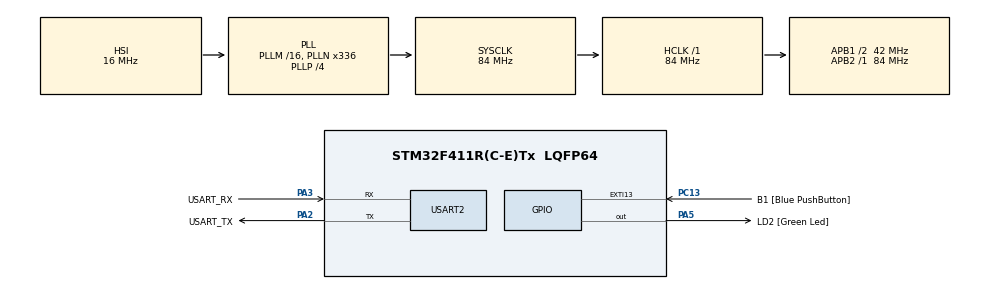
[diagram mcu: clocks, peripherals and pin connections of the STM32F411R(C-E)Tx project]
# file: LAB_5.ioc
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Mcu.Family=STM32F4
Mcu.Name=STM32F411R(C-E)Tx
Mcu.Package=LQFP64
NVIC.PriorityGroup=NVIC_PRIORITYGROUP_0
NVIC.USART2_IRQn=true\:0\:0\:false\:false\:true\:true\:true\:true
PA13.GPIO_Label=TMS
PA13.Mode=Serial_Wire
PA13.Signal=SYS_JTMS-SWDIO
PA14.GPIO_Label=TCK
PA14.Mode=Serial_Wire
PA14.Signal=SYS_JTCK-SWCLK
PA2.GPIO_Label=USART_TX
PA2.Mode=Asynchronous
PA2.Signal=USART2_TX
PA3.GPIO_Label=USART_RX
PA3.Mode=Asynchronous
PA3.Signal=USART2_RX
PA5.GPIO_Label=LD2 [Green Led]
PA5.Signal=GPIO_Output
PB3.GPIO_Label=SWO
PB3.Signal=SYS_JTDO-SWO
PC13-ANTI_TAMP.GPIO_Label=B1 [Blue PushButton]
PC13-ANTI_TAMP.GPIO_ModeDefaultEXTI=GPIO_MODE_IT_FALLING
PC13-ANTI_TAMP.Signal=GPXTI13
PC14-OSC32_IN.Mode=LSE-External-Oscillator
PC14-OSC32_IN.Signal=RCC_OSC32_IN
PC15-OSC32_OUT.Mode=LSE-External-Oscillator
PC15-OSC32_OUT.Signal=RCC_OSC32_OUT
PH0\ -\ OSC_IN.Mode=HSE-External-Clock-Source
PH0\ -\ OSC_IN.Signal=RCC_OSC_IN
PH1\ -\ OSC_OUT.Mode=HSE-External-Clock-Source
PH1\ -\ OSC_OUT.Signal=RCC_OSC_OUT
ProjectManager.HeapSize=0x200
ProjectManager.StackSize=0x400
ProjectManager.TargetToolchain=STM32CubeIDE
RCC.48MHZClocksFreq_Value=84000000
RCC.AHBFreq_Value=84000000
RCC.APB1CLKDivider=RCC_HCLK_DIV2
RCC.APB1Freq_Value=42000000
RCC.APB1TimFreq_Value=84000000
RCC.APB2Freq_Value=84000000
RCC.APB2TimFreq_Value=84000000
RCC.CortexFreq_Value=84000000
RCC.FLatency-AdvancedSettings=FLASH_LATENCY_2
RCC.HCLKFreq_Value=84000000
RCC.HSE_VALUE=8000000
RCC.HSI_VALUE=16000000
RCC.PLLN=336
RCC.PLLP=RCC_PLLP_DIV4
RCC.SYSCLKFreq_VALUE=84000000
RCC.SYSCLKSource=RCC_SYSCLKSOURCE_PLLCLK
RCC.VCOOutputFreq_Value=336000000
USART2.VirtualMode=VM_ASYNC
board=NUCLEO-F411RE

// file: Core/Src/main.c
/* USER CODE BEGIN Header */
/**
  ******************************************************************************
  * @file           : main.c
  * @brief          : Main program body
  ******************************************************************************
  * @attention
  *
  * Copyright (c) 2023 STMicroelectronics.
  * All rights reserved.
  *
  * This software is licensed under terms that can be found in the LICENSE file
  * in the root directory of this software component.
  * If no LICENSE file comes with this software, it is provided AS-IS.
  *
  ******************************************************************************
  */
/* USER CODE END Header */
#include "main.h"

/* USER CODE BEGIN Includes */

#include "stdio.h"
#include "string.h"

/* USER CODE END Includes */

UART_HandleTypeDef huart2;

/* USER CODE BEGIN PV */

uint8_t RxBuffer[1];
uint8_t TxBuffer[20];

uint8_t FirstMenu[1000] =

			"                Please select the function            \r\n"
			"						     						   \r\n"
			"                  0 : LED Control                     \r\n"
			"                  1 : Button Status                   \r\n"
			"                                                      \r\n"
			"                                                      \r\n";

uint8_t SecMenu[1000] =

	    	"                                                      \r\n"
			"                  Press the Character                 \r\n"
			"													   \r\n"
			"                a : Speed Up   +1 Hz                  \r\n"
			"                s : Speed Down -1 Hz                  \r\n"
			"                d : On / Off LED                      \r\n"
			"                x : back                              \r\n"
			"                                                      \r\n"
			"                                                      \r\n";

uint8_t ThirdMenu[1000] =

			"                                                      \r\n"
	    	"                                                      \r\n"
			"       		    button status                      \r\n"
			"             Press 'x' to go to back menu             \r\n"
			"                                                      \r\n"
			"                                                      \r\n";

uint8_t Wrong[1000] =

		    "                                                      \r\n"
			"              Error no function detected              \r\n"
		    "                                                      \r\n"
    		"                                                      \r\n";

//set
int8_t Hz = 0;
int8_t Past_Hz = 0;
uint8_t mHz = 0;
uint8_t HzIncrease [30] = "Hz Increase (+1)\r\n";
uint8_t HzDecrease [30] = "Hz Decrease (-1)\r\n";
uint8_t Cant [30] = "0 Hz Already\r\n";
uint8_t State = 0;
uint8_t Status_LED = 0;
uint8_t LED_On [10] = "Led On\r\n";
uint8_t LED_Off [15] = "Led Off\r\n";

uint8_t Button = 0;
uint8_t PastButton = 0;

uint8_t Press[50] = "Status : ButtonPressed\r\n";
uint8_t UnPress[50] = "Status : ButtonUnpressed\r\n";
uint8_t OnePress = 0;

/* USER CODE END PV */

void SystemClock_Config(void);
static void MX_GPIO_Init(void);
static void MX_USART2_UART_Init(void);
/* USER CODE BEGIN PFP */

void UARTInterruptConfig();

/* USER CODE END PFP */

int main(void)
{

  /* MCU Configuration--------------------------------------------------------*/

  /* Reset of all peripherals, Initializes the Flash interface and the Systick. */
  HAL_Init();

  /* Configure the system clock */
  SystemClock_Config();

  /* Initialize all configured peripherals */
  MX_GPIO_Init();
  MX_USART2_UART_Init();
  /* USER CODE BEGIN 2 */

  UARTInterruptConfig();

  /* USER CODE END 2 */

  /* Infinite loop */
  while (1)
  {

    /* USER CODE BEGIN 3 */

	  // create State
	  switch (State){

	  case 0: // First Menu
		  HAL_Delay(50); // delay = 1 ms.
		  HAL_UART_Transmit_IT(&huart2, FirstMenu, strlen((char*) FirstMenu));
		  HAL_Delay(50);
		  State = 1;
		  HAL_Delay(50);
		  break;

	  case 1: // Press 1 or 0
	  	  if (RxBuffer[0] == '0') // Press and go to LED Control
	  	  {
	  		  HAL_Delay(50);
	  		  RxBuffer[0] = 0;
	  		  HAL_Delay(50);
	  		  State = 2;
	  		  HAL_Delay(50);
	  	  }

	  	  else if (RxBuffer[0] == '1')  // Press and go to Button Status
	  	  {
	  		  HAL_Delay(50);
	  		  RxBuffer[0] = 0;
	  		  HAL_Delay(50);

	  		  State = 4;
	  		  HAL_Delay(50);
	  	  }
	  	  else if (RxBuffer[0] == 0)
	  	  {
	  		  State = 1;
	  	  }
		  else
		  {
			  RxBuffer[0] = 0;
			  HAL_Delay(50);
			  HAL_UART_Transmit_IT(&huart2, Wrong, strlen((char*) Wrong));
			  HAL_Delay(50);
			  State = 0;
		  }

	  	  break;
	  	  //else

	  case 2: // Second Menu
		  HAL_Delay(50);
		  HAL_UART_Transmit_IT(&huart2, SecMenu, strlen((char*) SecMenu));
		  HAL_Delay(50);
		  State = 3;
		  break;

	  case 3: // Press a, s, d, x
		  HAL_Delay(50);
		  if (RxBuffer[0] == 'a')
		  {
			  HAL_Delay(50);
			  Hz += 1 ;
			  Past_Hz += 1;
			  HAL_Delay(50);
			  State = 3;
			  RxBuffer[0] = 0;
			  HAL_Delay(50);
			  HAL_UART_Transmit_IT(&huart2, HzIncrease, strlen((char*) HzIncrease));
			  HAL_Delay(50);
		  }

		  else if (RxBuffer[0] == 's')
		  {
			  HAL_Delay(50);
			  HAL_UART_Transmit_IT(&huart2, HzDecrease, strlen((char*) HzDecrease));
			  HAL_Delay(50);

			  Hz -= 1;
			  HAL_Delay(50);
			  if (Hz <= 0)
			  {
				  Hz = 0;
			  }
			  HAL_Delay(50);
			  Past_Hz -= 1;
			  HAL_Delay(50);
			  if (Past_Hz <= 0)
			  {
				  Past_Hz = 0;
				  HAL_UART_Transmit_IT(&huart2, Cant, strlen((char*) Cant));
			  }
			  HAL_Delay(50);
			  State = 3;
			  RxBuffer[0] = 0;
			  HAL_Delay(50);

		  }

		  else if (RxBuffer[0] == 'd')
		  {
			 if (Status_LED)
			 {
				Status_LED = 0;
				RxBuffer[0] = 0;

				Hz = 0;
				HAL_Delay(50);
				HAL_UART_Transmit_IT(&huart2, LED_Off, strlen((char*) LED_Off));
				HAL_Delay(50);
				HAL_GPIO_WritePin(LD2_GPIO_Port, LD2_Pin, 0);
				HAL_Delay(50);
			 }
			else
			{
				Status_LED = 1;
				RxBuffer[0] = 0;

				Hz = Past_Hz;
				HAL_Delay(50);
				HAL_UART_Transmit_IT(&huart2, LED_On, strlen((char*) LED_On));
				HAL_GPIO_WritePin(LD2_GPIO_Port, LD2_Pin, 1);
				HAL_Delay(50);
			}
		  }

		  else if (RxBuffer[0] == 'x') // back
		  {
			  HAL_Delay(50);
			  RxBuffer[0] = 0;
			  State = 0;
			  HAL_Delay(50);
		  }
	  	  else if (RxBuffer[0] == 0)
	  	  {
	  		HAL_Delay(50);
	  		  State = 3;
	  		HAL_Delay(50);
	  	  }
		  else
		  {
			  HAL_Delay(50);
			  RxBuffer[0] = 0;
			  HAL_Delay(50);
			  HAL_UART_Transmit_IT(&huart2, Wrong, strlen((char*) Wrong));
			  HAL_Delay(50);
			  State = 2;
			  HAL_Delay(50);
		  }
		  break;
		  //else

	  case 4:
		  HAL_Delay(50);
		  HAL_UART_Transmit_IT(&huart2, ThirdMenu, strlen((char*) ThirdMenu));
		  HAL_Delay(50);
		  State = 5;
		  break;

	  case 5:
		  Button = HAL_GPIO_ReadPin(GPIOC, GPIO_PIN_13);
		  if (Button == 1 && PastButton == 0)
		  {
			  HAL_UART_Transmit_IT(&huart2, UnPress, strlen((char*) UnPress));
			  OnePress = 0;
		  }
		  else if (Button == 0 && PastButton == 0)
		  {
			  if (!OnePress)
			  {
				  HAL_UART_Transmit_IT(&huart2, Press, strlen((char*) Press));
				  OnePress = 1;
			  }
		  }
		  else if (RxBuffer[0] == 'x')
		  {
			  RxBuffer[0] = 0;
			  State = 0;
		  }

		  PastButton = Button;
		  break;
	  }

  }
  /* USER CODE END 3 */
}

void SystemClock_Config(void)
{
  RCC_OscInitTypeDef RCC_OscInitStruct = {0};
  RCC_ClkInitTypeDef RCC_ClkInitStruct = {0};

  /** Configure the main internal regulator output voltage
  */
  __HAL_RCC_PWR_CLK_ENABLE();
  __HAL_PWR_VOLTAGESCALING_CONFIG(PWR_REGULATOR_VOLTAGE_SCALE1);

  /** Initializes the RCC Oscillators according to the specified parameters
  * in the RCC_OscInitTypeDef structure.
  */
  RCC_OscInitStruct.OscillatorType = RCC_OSCILLATORTYPE_HSI;
  RCC_OscInitStruct.HSIState = RCC_HSI_ON;
  RCC_OscInitStruct.HSICalibrationValue = RCC_HSICALIBRATION_DEFAULT;
  RCC_OscInitStruct.PLL.PLLState = RCC_PLL_ON;
  RCC_OscInitStruct.PLL.PLLSource = RCC_PLLSOURCE_HSI;
  RCC_OscInitStruct.PLL.PLLM = 16;
  RCC_OscInitStruct.PLL.PLLN = 336;
  RCC_OscInitStruct.PLL.PLLP = RCC_PLLP_DIV4;
  RCC_OscInitStruct.PLL.PLLQ = 4;
  if (HAL_RCC_OscConfig(&RCC_OscInitStruct) != HAL_OK)
  {
    Error_Handler();
  }

  /** Initializes the CPU, AHB and APB buses clocks
  */
  RCC_ClkInitStruct.ClockType = RCC_CLOCKTYPE_HCLK|RCC_CLOCKTYPE_SYSCLK
                              |RCC_CLOCKTYPE_PCLK1|RCC_CLOCKTYPE_PCLK2;
  RCC_ClkInitStruct.SYSCLKSource = RCC_SYSCLKSOURCE_PLLCLK;
  RCC_ClkInitStruct.AHBCLKDivider = RCC_SYSCLK_DIV1;
  RCC_ClkInitStruct.APB1CLKDivider = RCC_HCLK_DIV2;
  RCC_ClkInitStruct.APB2CLKDivider = RCC_HCLK_DIV1;

  if (HAL_RCC_ClockConfig(&RCC_ClkInitStruct, FLASH_LATENCY_2) != HAL_OK)
  {
    Error_Handler();
  }
}

static void MX_USART2_UART_Init(void)
{

  huart2.Instance = USART2;
  huart2.Init.BaudRate = 115200;
  huart2.Init.WordLength = UART_WORDLENGTH_8B;
  huart2.Init.StopBits = UART_STOPBITS_1;
  huart2.Init.Parity = UART_PARITY_NONE;
  huart2.Init.Mode = UART_MODE_TX_RX;
  huart2.Init.HwFlowCtl = UART_HWCONTROL_NONE;
  huart2.Init.OverSampling = UART_OVERSAMPLING_16;
  if (HAL_UART_Init(&huart2) != HAL_OK)
  {
    Error_Handler();
  }

}

static void MX_GPIO_Init(void)
{
  GPIO_InitTypeDef GPIO_InitStruct = {0};

  /* GPIO Ports Clock Enable */
  __HAL_RCC_GPIOC_CLK_ENABLE();
  __HAL_RCC_GPIOH_CLK_ENABLE();
  __HAL_RCC_GPIOA_CLK_ENABLE();
  __HAL_RCC_GPIOB_CLK_ENABLE();

  /*Configure GPIO pin Output Level */
  HAL_GPIO_WritePin(LD2_GPIO_Port, LD2_Pin, GPIO_PIN_RESET);

  /*Configure GPIO pin : B1_Pin */
  GPIO_InitStruct.Pin = B1_Pin;
  GPIO_InitStruct.Mode = GPIO_MODE_IT_FALLING;
  GPIO_InitStruct.Pull = GPIO_NOPULL;
  HAL_GPIO_Init(B1_GPIO_Port, &GPIO_InitStruct);

  /*Configure GPIO pin : LD2_Pin */
  GPIO_InitStruct.Pin = LD2_Pin;
  GPIO_InitStruct.Mode = GPIO_MODE_OUTPUT_PP;
  GPIO_InitStruct.Pull = GPIO_NOPULL;
  GPIO_InitStruct.Speed = GPIO_SPEED_FREQ_LOW;
  HAL_GPIO_Init(LD2_GPIO_Port, &GPIO_InitStruct);

}

/* USER CODE BEGIN 4 */

void UARTInterruptConfig() {
	HAL_UART_Receive_IT(&huart2, RxBuffer, 1);
}

void HAL_UART_RxCpltCallback(UART_HandleTypeDef *huart)
{
	if (huart == &huart2)
	{

		//(for string only) Add string stop symbol \0 to end string
		RxBuffer[2] = '\0';

		//return received char
		sprintf((char*)TxBuffer, "Received : %s\r\n" ,RxBuffer);
		HAL_UART_Transmit_IT(&huart2, TxBuffer, strlen((char*)TxBuffer));

		HAL_UART_Receive_IT(&huart2, RxBuffer, 1);

	}
}

/* USER CODE END 4 */

void Error_Handler(void)
{
  __disable_irq();
  while (1)
  {
  }
}
